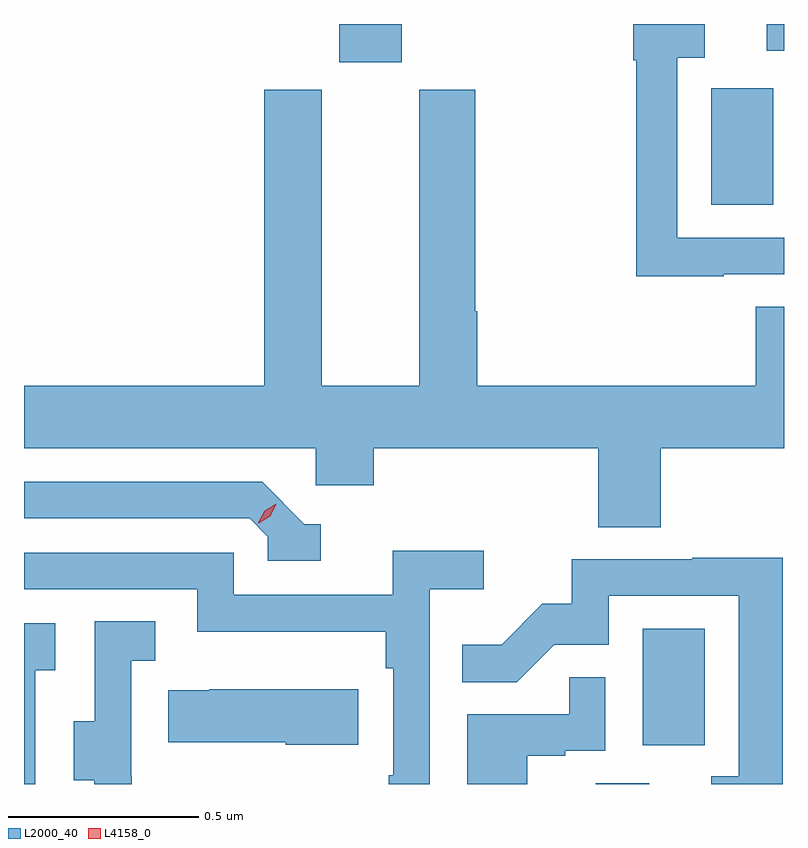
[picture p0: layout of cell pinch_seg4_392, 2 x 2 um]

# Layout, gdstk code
import gdstk
lib = gdstk.Library(unit=1e-6, precision=1e-09)
def R(c, l, rs):  # rectangles x0, y0, x1, y1
    for r in rs: c.add(gdstk.rectangle(r[:2], r[2:], *l))
def P(c, l, *ps):  # polygons
    for p in ps: c.add(gdstk.Polygon(p, *l))
L2000_40 = (2000, 40)
L4158_0 = (4158, 0)

pinch_seg4_392 = lib.new_cell('pinch_seg4_392')
R(pinch_seg4_392, L2000_40, [(990.635,787.944,990.775,787.946), (990.758,788.046,990.922,788.353), (990.938,789.468,991.102,789.775), (989.96,789.843,990.124,789.944), (991.085,789.874,991.13,789.944)])
P(pinch_seg4_392, L2000_40, [(990.971,789.285),(991.13,789.285),(991.13,789.381),(990.849,789.381),(990.849,789.855),(990.922,789.855),(990.922,789.944),(990.733,789.944),(990.733,789.848),(990.741,789.848),(990.741,789.28),(990.971,789.28)],
  [(990.806,788.828),(991.13,788.828),(991.13,789.2),(991.055,789.2),(991.055,788.992),(990.323,788.992),(990.323,789.188),(990.318,789.188),(990.318,789.771),(990.17,789.771),(990.17,788.992),(989.914,788.992),(989.914,789.771),(989.762,789.771),(989.762,788.992),(989.13,788.992),(989.13,788.828),(989.898,788.828),(989.898,788.73),(990.05,788.73),(990.05,788.828),(990.641,788.828),(990.641,788.62),(990.806,788.62)],
  [(989.911,788.628),(989.868,788.628),(989.757,788.739),(989.13,788.739),(989.13,788.643),(989.724,788.643),(989.772,788.595),(989.772,788.532),(989.911,788.532)],
  [(990.198,788.456),(990.34,788.456),(990.34,788.558),(990.101,788.558),(990.101,788.442),(989.682,788.442),(989.682,788.553),(989.13,788.553),(989.13,788.457),(989.586,788.457),(989.586,788.345),(990.082,788.345),(990.082,788.249),(990.102,788.249),(990.102,787.967),(990.09,787.967),(990.09,787.944),(990.198,787.944)],
  [(991.127,788.54),(990.889,788.54),(990.889,788.535),(990.571,788.535),(990.571,788.418),(990.494,788.418),(990.387,788.311),(990.283,788.311),(990.283,788.212),(990.427,788.212),(990.525,788.31),(990.669,788.31),(990.669,788.439),(991.011,788.439),(991.011,787.965),(990.939,787.965),(990.939,787.944),(991.127,787.944)],
  [(989.414,787.965),(989.412,787.965),(989.412,788.269),(989.476,788.269),(989.476,788.372),(989.316,788.372),(989.316,788.109),(989.261,788.109),(989.261,787.954),(989.315,787.954),(989.315,787.944),(989.414,787.944)],
  [(989.16,788.243),(989.212,788.243),(989.212,788.367),(989.13,788.367),(989.13,787.944),(989.16,787.944)],
  [(990.454,788.019),(990.554,788.019),(990.554,788.031),(990.66,788.031),(990.66,788.225),(990.565,788.225),(990.565,788.127),(990.296,788.127),(990.296,787.944),(990.454,787.944)],
  [(990.01,788.194),(989.617,788.194),(989.617,788.191),(989.509,788.191),(989.509,788.054),(989.819,788.054),(989.819,788.047),(990.01,788.047)])
P(pinch_seg4_392, L4158_0, [(989.747,788.63),(989.747,788.631),(989.763,788.663),(989.794,788.681),(989.794,788.681),(989.794,788.681),(989.778,788.649),(989.748,788.63)])

lib.write_gds('pinch_seg4_392.gds')
